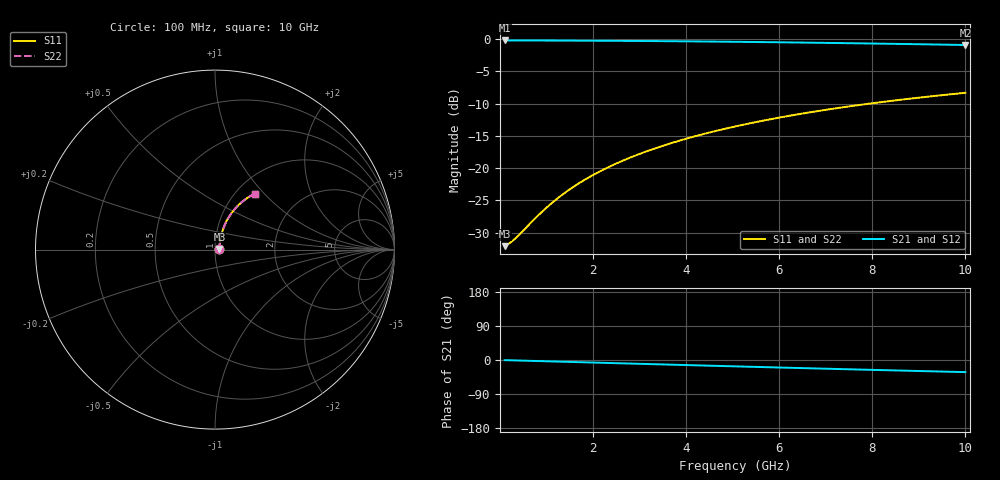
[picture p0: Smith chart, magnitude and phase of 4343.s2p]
# Hz S RI R 50.00
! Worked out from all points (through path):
!   100 points, 100 MHz to 10 GHz, reference 50 ohm
!   highest |S21| = -0.22 dB at 100 MHz (marker M1); lowest = -0.9 dB at 10 GHz (marker M2)
!   group delay of S21, straight-line fit = 8.91 ps
!   lowest |S11| = -32.1 dB at 100 MHz (marker M3), VSWR 1.05, Z = 52.5 + j0.432 ohm
!   |S11| at or under -10 dB: start of sweep to 7.945 GHz
!   |S22| runs from -32.1 to -8.3 dB; largest |S21 - S12| = 0
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1e8  0.0245 0.00412  0.9755 -0.00575  0.9755 -0.00575  0.0245 0.00412
2e8  0.0248 0.00823  0.9752 -0.0115  0.9752 -0.0115  0.0248 0.00823
3e8  0.025 0.0123  0.975 -0.0172  0.975 -0.0172  0.025 0.0123
4e8  0.0253 0.0164  0.9747 -0.023  0.9747 -0.023  0.0253 0.0164
8e8  0.0267 0.0328  0.9732 -0.0459  0.9732 -0.0459  0.0267 0.0328
1.1e9  0.0282 0.045  0.9716 -0.063  0.9716 -0.063  0.0282 0.045
1.4e9  0.0301 0.0572  0.9696 -0.08  0.9696 -0.08  0.0301 0.0572
1.6e9  0.0316 0.0652  0.968 -0.0913  0.968 -0.0913  0.0316 0.0652
1.8e9  0.0333 0.0732  0.9662 -0.1026  0.9662 -0.1026  0.0333 0.0732
2.1e9  0.0362 0.0851  0.9632 -0.1193  0.9632 -0.1193  0.0362 0.0851
2.5e9  0.0407 0.1007  0.9584 -0.1415  0.9584 -0.1415  0.0407 0.1007
2.9e9  0.0458 0.1161  0.953 -0.1634  0.953 -0.1634  0.0458 0.1161
3.4e9  0.0532 0.1349  0.9452 -0.1904  0.9452 -0.1904  0.0532 0.1349
3.8e9  0.0599 0.1495  0.9381 -0.2115  0.9381 -0.2115  0.0599 0.1495
4.2e9  0.0672 0.1637  0.9304 -0.2323  0.9304 -0.2323  0.0672 0.1637
4.6e9  0.075 0.1775  0.9221 -0.2526  0.9221 -0.2526  0.075 0.1775
5.1e9  0.0856 0.194  0.9108 -0.2774  0.9108 -0.2774  0.0856 0.194
5.9e9  0.1043 0.219  0.8909 -0.3155  0.8909 -0.3155  0.1043 0.219
6.7e9  0.1249 0.2418  0.8689 -0.3516  0.8689 -0.3516  0.1249 0.2418
7.5e9  0.1469 0.2624  0.8453 -0.3854  0.8453 -0.3854  0.1469 0.2624
8.4e9  0.1733 0.2829  0.817 -0.4208  0.817 -0.4208  0.1733 0.2829
1e10  0.2228 0.3119  0.7632 -0.4765  0.7632 -0.4765  0.2228 0.3119
